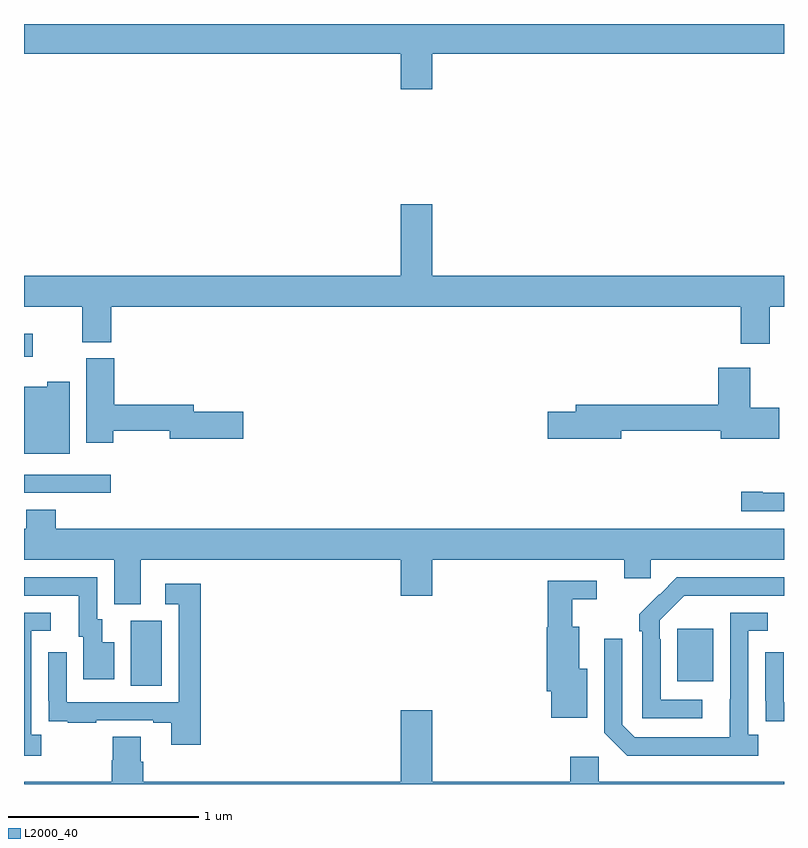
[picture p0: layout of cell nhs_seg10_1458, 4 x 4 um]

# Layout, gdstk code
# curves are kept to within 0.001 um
import gdstk
lib = gdstk.Library(unit=1e-6, precision=1e-09)
def R(c, l, rs):  # rectangles x0, y0, x1, y1
    for r in rs: c.add(gdstk.rectangle(r[:2], r[2:], *l))
def P(c, l, *ps):  # polygons
    for p in ps: c.add(gdstk.Polygon(p, *l))
L2000_40 = (2000, 40)

nhs_seg10_1458 = lib.new_cell('nhs_seg10_1458')
R(nhs_seg10_1458, L2000_40, [(187.562,1269.016,187.726,1269.36), (190.439,1269.041,190.627,1269.316), (187,1270.032,187.456,1270.128), (187,1270.748,187.045,1270.87)])
P(nhs_seg10_1458, L2000_40, [(189.148,1272.344),(191,1272.344),(191,1272.5),(187,1272.5),(187,1272.344),(188.984,1272.344),(188.984,1272.156),(189.148,1272.156)],
  [(190.924,1271.012),(191,1271.012),(191,1271.176),(189.148,1271.176),(189.148,1271.551),(188.984,1271.551),(188.984,1271.176),(187,1271.176),(187,1271.012),(187.307,1271.012),(187.307,1270.825),(187.46,1270.825),(187.46,1271.012),(190.772,1271.012),(190.772,1270.818),(190.924,1270.818)],
  [(187.47,1270.36),(187.766,1270.36),(187.766,1270.318),(188.155,1270.318),(188.155,1270.46),(187.894,1270.46),(187.894,1270.496),(187.475,1270.496),(187.475,1270.74),(187.328,1270.74),(187.328,1270.296),(187.47,1270.296)],
  [(190.975,1270.479),(190.822,1270.479),(190.822,1270.69),(190.655,1270.69),(190.655,1270.496),(189.905,1270.496),(189.905,1270.46),(189.756,1270.46),(189.756,1270.318),(190.144,1270.318),(190.144,1270.36),(190.667,1270.36),(190.667,1270.316),(190.975,1270.316)],
  [(187.24,1270.618),(187.122,1270.618),(187.122,1270.591),(187,1270.591),(187,1270.238),(187.24,1270.238)],
  [(191,1270.032),(190.888,1270.032),(190.888,1270.037),(190.776,1270.037),(190.776,1269.936),(191,1269.936)],
  [(187.615,1269.68),(188.984,1269.68),(188.984,1269.492),(189.148,1269.492),(189.148,1269.68),(190.16,1269.68),(190.16,1269.582),(190.299,1269.582),(190.299,1269.68),(191,1269.68),(191,1269.844),(187.166,1269.844),(187.166,1269.943),(187.013,1269.943),(187.013,1269.844),(187,1269.844),(187,1269.68),(187.475,1269.68),(187.475,1269.445),(187.615,1269.445)],
  [(187.474,1269.247),(187.411,1269.247),(187.411,1269.366),(187.386,1269.366),(187.386,1269.588),(187,1269.588),(187,1269.492),(187.289,1269.492),(187.289,1269.276),(187.313,1269.276),(187.313,1269.051),(187.474,1269.051)],
  [(190.57,1268.943),(190.35,1268.943),(190.35,1269.263),(190.347,1269.263),(190.347,1269.363),(190.476,1269.492),(191,1269.492),(191,1269.588),(190.436,1269.588),(190.239,1269.393),(190.239,1269.305),(190.254,1269.305),(190.254,1268.847),(190.57,1268.847)],
  [(189.964,1269.106),(189.922,1269.106),(189.922,1269.328),(189.886,1269.328),(189.886,1269.473),(190.015,1269.473),(190.015,1269.57),(189.757,1269.57),(189.757,1269.324),(189.752,1269.324),(189.752,1268.988),(189.776,1268.988),(189.776,1268.849),(189.964,1268.849)],
  [(187.931,1269.553),(187.743,1269.553),(187.743,1269.447),(187.815,1269.447),(187.815,1268.931),(187.224,1268.931),(187.224,1269.193),(187.128,1269.193),(187.128,1268.938),(187.129,1268.938),(187.129,1268.829),(187.231,1268.829),(187.231,1268.823),(187.379,1268.823),(187.379,1268.835),(187.679,1268.835),(187.679,1268.823),(187.775,1268.823),(187.775,1268.706),(187.931,1268.706)],
  [(187.09,1268.758),(187.038,1268.758),(187.038,1269.306),(187.141,1269.306),(187.141,1269.402),(187,1269.402),(187,1268.648),(187.09,1268.648)],
  [(190.864,1268.758),(190.812,1268.758),(190.812,1269.306),(190.915,1269.306),(190.915,1269.402),(190.716,1269.402),(190.715,1268.745),(190.215,1268.745),(190.149,1268.811),(190.149,1269.265),(190.053,1269.265),(190.053,1268.769),(190.174,1268.648),(190.864,1268.648)],
  [(191,1268.931),(190.998,1268.931),(190.998,1269.193),(190.902,1269.193),(190.902,1268.938),(190.903,1268.938),(190.903,1268.829),(191,1268.829)],
  [(188.984,1268.887),(188.984,1268.512),(187.628,1268.512),(187.628,1268.618),(187.615,1268.618),(187.615,1268.75),(187.468,1268.75),(187.468,1268.625),(187.463,1268.625),(187.463,1268.512),(187,1268.512),(187,1268.5),(191,1268.5),(191,1268.512),(190.026,1268.512),(190.026,1268.644),(189.875,1268.644),(189.875,1268.512),(189.148,1268.512),(189.148,1268.887)])

lib.write_gds('nhs_seg10_1458.gds')
